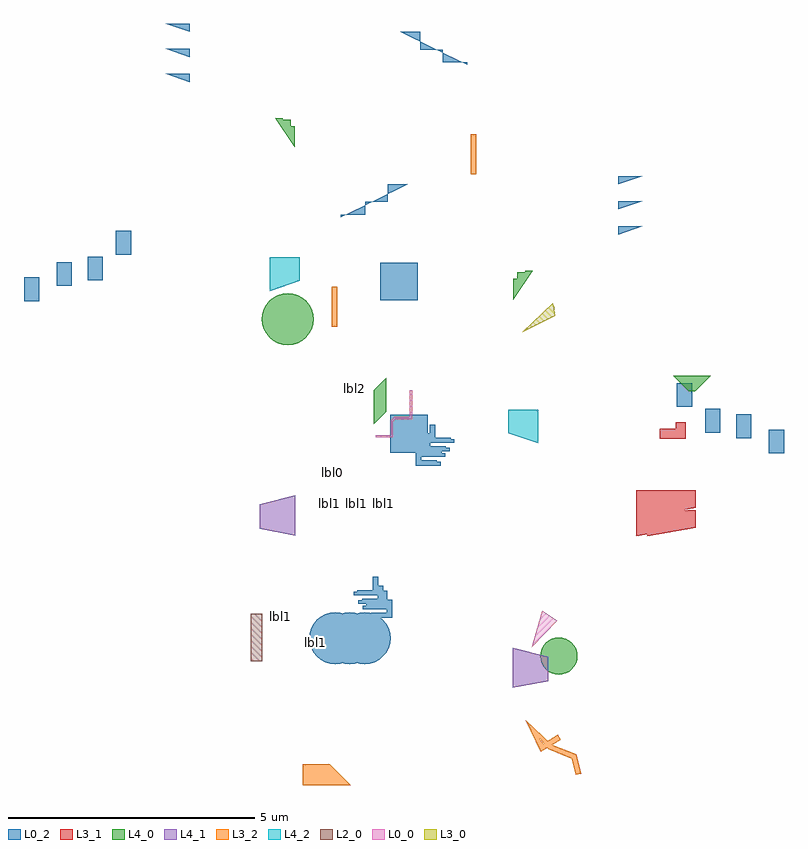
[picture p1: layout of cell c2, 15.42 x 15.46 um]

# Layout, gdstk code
from math import pi, radians
import gdstk
lib = gdstk.Library(unit=1e-6, precision=2.5e-09)
def R(c, l, rs):  # rectangles x0, y0, x1, y1
    for r in rs: c.add(gdstk.rectangle(r[:2], r[2:], *l))
def P(c, l, *ps):  # polygons
    for p in ps: c.add(gdstk.Polygon(p, *l))
L0_0 = (0, 0)
L0_2 = (0, 2)
L2_0 = (2, 0)
L3_0 = (3, 0)
L3_1 = (3, 1)
L3_2 = (3, 2)
L4_0 = (4, 0)
L4_1 = (4, 1)
L4_2 = (4, 2)

c_c0 = lib.new_cell('c0')
R(c_c0, L0_2, [(0.035,-3.5775,0.8,-2.8125), (0.9625,2.235,1.4425,2.5475), (0.44,2.81,0.92,3.1225), (0.33,3.44,0.81,3.7525), (0.0175,4.1,0.4975,4.4125)])
P(c_c0, L0_2, [(4.46,1.045),(4.6275,1.045),(4.6275,1.5325)],
  [(4.97,1.045),(5.1375,1.045),(5.1375,1.5325)],
  [(5.48,1.045),(5.6475,1.045),(5.6475,1.5325)],
  [(4.8125,-4.58),(4.865,-4.58),(4.865,-4.085),(5.1225,-4.085),(5.1225,-3.63),(5.48,-3.63),(5.48,-3.2275)],
  [(-3.145,-4.1375),(-3.0725,-4.1375),(-3.0725,-4.06),(-3.0425,-4.06),(-3.0425,-3.75),(-2.7725,-3.75),(-2.7725,-3.6375),(-3.145,-3.6375)],
  [(-2.86,-4.32),(-2.7875,-4.32),(-2.7875,-4.2425),(-2.7575,-4.2425),(-2.7575,-3.9325),(-2.4875,-3.9325),(-2.4875,-3.82),(-2.86,-3.82)],
  [(-3.32,-4.04),(-3.2475,-4.04),(-3.2475,-3.9625),(-3.2175,-3.9625),(-3.2175,-3.6525),(-2.9475,-3.6525),(-2.9475,-3.54),(-3.32,-3.54)],
  [(-3.035,-4.2225),(-2.9625,-4.2225),(-2.9625,-4.145),(-2.9325,-4.145),(-2.9325,-3.835),(-2.6625,-3.835),(-2.6625,-3.7225),(-3.035,-3.7225)])
R(c_c0, L3_2, [(2.5875,-4.76,3.4,-4.655)])
P(c_c0, L4_0, [(3.1375,-1.08),(3.565,-1.08),(3.565,-1.0025),(3.6925,-1.0025),(3.6925,-0.8375),(3.725,-0.8375),(3.725,-0.685)])
P(c_c0, L4_1, [(-4.605,-0.375),(-4.1075,-0.375),(-3.9225,-1.095),(-4.74,-1.095)])
P(c_c0, L4_2, [(0.22,-0.575),(0.905,-0.575),(0.905,-1.1825),(0.4275,-1.1825)])
c_c0.add(gdstk.Label('lbl1', (-3.2775,-2.565), layer=3, texttype=0))
c_c0.add(gdstk.Label('lbl0', (-3.4825,-4.88), layer=0, texttype=2))
c_c0.add(gdstk.Label('lbl0', (-1.9275,-4.6025), layer=2, texttype=0))
c_c0.add(gdstk.Label('lbl0', (-1.9275,-4.5925), layer=2, texttype=0))
c_c0.add(gdstk.Label('lbl0', (-4.1225,-1.5425), layer=2, texttype=0))
c_c0.add(gdstk.Label('lbl0', (-3.6275,-1.7525), layer=2, texttype=0))
c_c0.add(gdstk.Label('lbl0', (-3.1975,-2.31), layer=2, texttype=0))
c_c0.add(gdstk.Label('lbl0', (-2.49,-1.9825), layer=2, texttype=0))

c_c2 = lib.new_cell('c2')
P(c_c2, L0_0, [(1.6075,-2.1125),(2.125,-1.5725),(1.875,-1.395),(1.82,-1.3725)])
P(c_c2, L0_2, [(-1.855,-1.925),(-1.865,-1.8225),(-1.895,-1.7225),(-1.945,-1.6325),(-2.01,-1.5525),(-2.09,-1.4875),(-2.18,-1.4375),(-2.28,-1.4075),(-2.3825,-1.3975),(-2.485,-1.4075),(-2.585,-1.4375),(-2.675,-1.4875),(-2.755,-1.5525),(-2.82,-1.6325),(-2.87,-1.7225),(-2.9,-1.8225),(-2.91,-1.925),(-2.9,-2.0275),(-2.87,-2.1275),(-2.82,-2.2175),(-2.755,-2.2975),(-2.675,-2.3625),(-2.585,-2.4125),(-2.485,-2.4425),(-2.3825,-2.4525),(-2.28,-2.4425),(-2.18,-2.4125),(-2.09,-2.3625),(-2.01,-2.2975),(-1.945,-2.2175),(-1.895,-2.1275),(-1.865,-2.0275)],
  [(-1.555,-1.925),(-1.565,-1.8225),(-1.595,-1.7225),(-1.645,-1.6325),(-1.71,-1.5525),(-1.79,-1.4875),(-1.88,-1.4375),(-1.98,-1.4075),(-2.0825,-1.3975),(-2.185,-1.4075),(-2.285,-1.4375),(-2.375,-1.4875),(-2.455,-1.5525),(-2.52,-1.6325),(-2.57,-1.7225),(-2.6,-1.8225),(-2.61,-1.925),(-2.6,-2.0275),(-2.57,-2.1275),(-2.52,-2.2175),(-2.455,-2.2975),(-2.375,-2.3625),(-2.285,-2.4125),(-2.185,-2.4425),(-2.0825,-2.4525),(-1.98,-2.4425),(-1.88,-2.4125),(-1.79,-2.3625),(-1.71,-2.2975),(-1.645,-2.2175),(-1.595,-2.1275),(-1.565,-2.0275)],
  [(-1.255,-1.925),(-1.265,-1.8225),(-1.295,-1.7225),(-1.345,-1.6325),(-1.41,-1.5525),(-1.49,-1.4875),(-1.58,-1.4375),(-1.68,-1.4075),(-1.7825,-1.3975),(-1.885,-1.4075),(-1.985,-1.4375),(-2.075,-1.4875),(-2.155,-1.5525),(-2.22,-1.6325),(-2.27,-1.7225),(-2.3,-1.8225),(-2.31,-1.925),(-2.3,-2.0275),(-2.27,-2.1275),(-2.22,-2.2175),(-2.155,-2.2975),(-2.075,-2.3625),(-1.985,-2.4125),(-1.885,-2.4425),(-1.7825,-2.4525),(-1.68,-2.4425),(-1.58,-2.4125),(-1.49,-2.3625),(-1.41,-2.2975),(-1.345,-2.2175),(-1.295,-2.1275),(-1.265,-2.0275)])
R(c_c2, L2_0, [(-4.0975,-2.39,-3.86,-1.4275)])
P(c_c2, L3_0, [(1.4175,4.285),(2.09,4.615),(2.0625,4.74),(2.0675,4.7925),(2.03,4.8725)])
P(c_c2, L3_1, [(3.7325,0.1425),(3.7325,0.6725),(4.715,0.6725),(4.715,0.3175)],
  [(3.95,0.1425),(3.95,0.6725),(4.9325,0.6725),(4.9325,0.3175)],
  [(3.7325,0.5425),(3.7325,1.0725),(4.715,1.0725),(4.715,0.7175)],
  [(3.95,0.5425),(3.95,1.0725),(4.9325,1.0725),(4.9325,0.7175)])
P(c_c2, L3_2, [(-3.04,-4.9125),(-3.04,-4.48),(-2.4925,-4.48),(-2.06,-4.9125)])
P(c_c2, L4_0, [(2.535,-2.29),(2.5275,-2.2175),(2.5075,-2.145),(2.4725,-2.08),(2.425,-2.0225),(2.3675,-1.975),(2.3025,-1.94),(2.23,-1.92),(2.1575,-1.9125),(2.085,-1.92),(2.0125,-1.94),(1.9475,-1.975),(1.89,-2.0225),(1.8425,-2.08),(1.8075,-2.145),(1.7875,-2.2175),(1.78,-2.29),(1.7875,-2.3625),(1.8075,-2.435),(1.8425,-2.5),(1.89,-2.5575),(1.9475,-2.605),(2.0125,-2.64),(2.085,-2.66),(2.1575,-2.6675),(2.23,-2.66),(2.3025,-2.64),(2.3675,-2.605),(2.425,-2.5575),(2.4725,-2.5),(2.5075,-2.435),(2.5275,-2.3625)],
  [(4.7925,3.0875),(4.4825,3.3975),(5.24,3.3975),(4.93,3.0875)],
  [(-1.6,2.4125),(-1.6,3.105),(-1.3425,3.3625),(-1.3425,2.67)],
  [(-2.815,4.55),(-2.825,4.6525),(-2.855,4.7525),(-2.905,4.8425),(-2.97,4.9225),(-3.05,4.9875),(-3.14,5.0375),(-3.24,5.0675),(-3.3425,5.0775),(-3.445,5.0675),(-3.545,5.0375),(-3.635,4.9875),(-3.715,4.9225),(-3.78,4.8425),(-3.83,4.7525),(-3.86,4.6525),(-3.87,4.55),(-3.86,4.4475),(-3.83,4.3475),(-3.78,4.2575),(-3.715,4.1775),(-3.635,4.1125),(-3.545,4.0625),(-3.445,4.0325),(-3.3425,4.0225),(-3.24,4.0325),(-3.14,4.0625),(-3.05,4.1125),(-2.97,4.1775),(-2.905,4.2575),(-2.855,4.3475),(-2.825,4.4475)])
c_c2.add(gdstk.FlexPath([(-1.4275,2.1725),(-1.23,2.1725),(-1.23,2.48),(-1.1675,2.5425),(-0.8425,2.5425),(-0.8425,2.9325)], 0.045, ends=(0.13, 0.17), simple_path=True, layer=0, datatype=0))  # L0_0
c_c2.add(gdstk.FlexPath([(4.63,2.3275),(4.63,2.225),(4.38,2.225)], 0.205, ends=(0.13, 0.17), simple_path=True, layer=3, datatype=1))  # L3_1
c_c2.add(gdstk.FlexPath([(2.56,-4.6875),(2.465,-4.3275),(1.9825,-4.135),(1.575,-3.715),(1.8175,-4.15),(2.12,-3.9675)], 0.115, ends=(0, 0.0575), simple_path=True, layer=3, datatype=2))  # L3_2
c_c2.add(gdstk.Reference(c_c0, (2.315,1.805), rotation=pi/2, x_reflection=True))
c_c2.add(gdstk.Reference(c_c0, (-4.2825,4.8975), rotation=pi/2))
c_c2.add(gdstk.Label('lbl0', (-2.4325,1.4425), layer=0, texttype=0))
c_c2.add(gdstk.Label('lbl2', (-1.9975,3.14), layer=2, texttype=0))
c_c2.add(gdstk.Label('lbl1', (-2.77,-2.005), layer=1, texttype=1))
c_c2.add(gdstk.Label('lbl1', (-3.13,-1.75), layer=1, texttype=1))
c_c2.add(gdstk.Label('lbl1', (-3.49,-1.495), layer=1, texttype=1))
c_c2.add(gdstk.Label('lbl1', (-2.49,0.7975), layer=1, texttype=1))
c_c2.add(gdstk.Label('lbl1', (-1.945,0.7975), layer=1, texttype=1))
c_c2.add(gdstk.Label('lbl1', (-1.4,0.7975), layer=1, texttype=1))

lib.write_gds('c2.gds')
